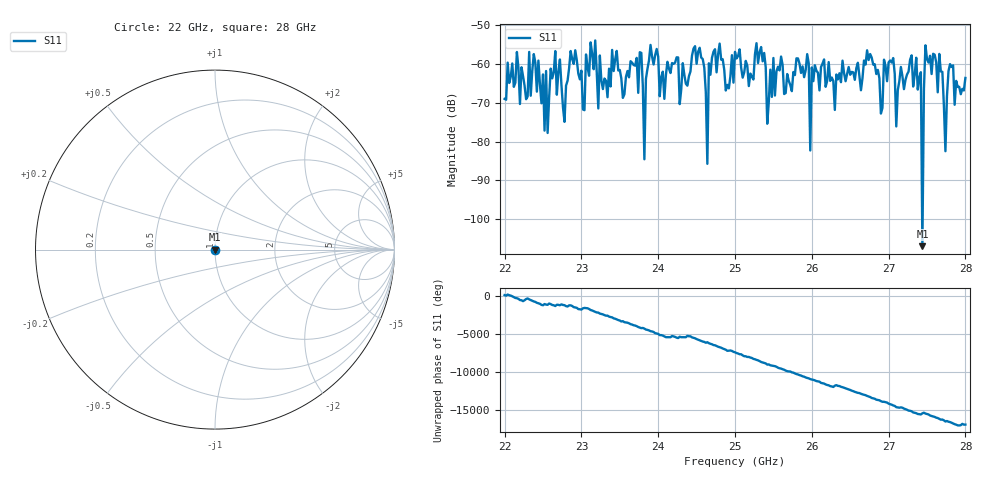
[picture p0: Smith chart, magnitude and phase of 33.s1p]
#  HZ  S  RI  R  50.00
! Rohde & Schwarz ZVA40 4Ports - Version 3.90 - 1145.1110k42 SN: 100403
! Date: 2023-10-04 11:33:28
! Measurement: S12
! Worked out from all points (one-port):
!   301 points, 22 GHz to 28 GHz, reference 50 ohm
!   lowest |S11| = -106.9 dB at 27.44 GHz (marker M1), VSWR 1.00, Z = 50 + j0.000411 ohm
!   |S11| at or under -10 dB: start of sweep to end of sweep
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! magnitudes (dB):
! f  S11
! 22 GHz  -69.0
! 22.56 GHz  -77.8
! 22.66 GHz  -56.7
! 22.76 GHz  -71.1
! 23.5 GHz  -61.5
! 23.78 GHz  -57.1
! 23.82 GHz  -84.5
! 23.9 GHz  -55.1
! 24.26 GHz  -58.3
! 24.54 GHz  -55.8
! 24.64 GHz  -85.7
! 24.66 GHz  -59.8
! 25 GHz  -56.9
! 25.38 GHz  -57.2
! 25.42 GHz  -75.4
! 25.76 GHz  -62.1
! 25.94 GHz  -57.5
! 25.98 GHz  -82.3
! 26 GHz  -60.9
! 26.5 GHz  -62.8
! 27.26 GHz  -61.9
! 27.42 GHz  -62.1
! 27.44 GHz  -106.9
! 27.48 GHz  -55.2
! 27.66 GHz  -57.4
! 27.74 GHz  -82.5
! 27.8 GHz  -60.0
! 28 GHz  -63.6
